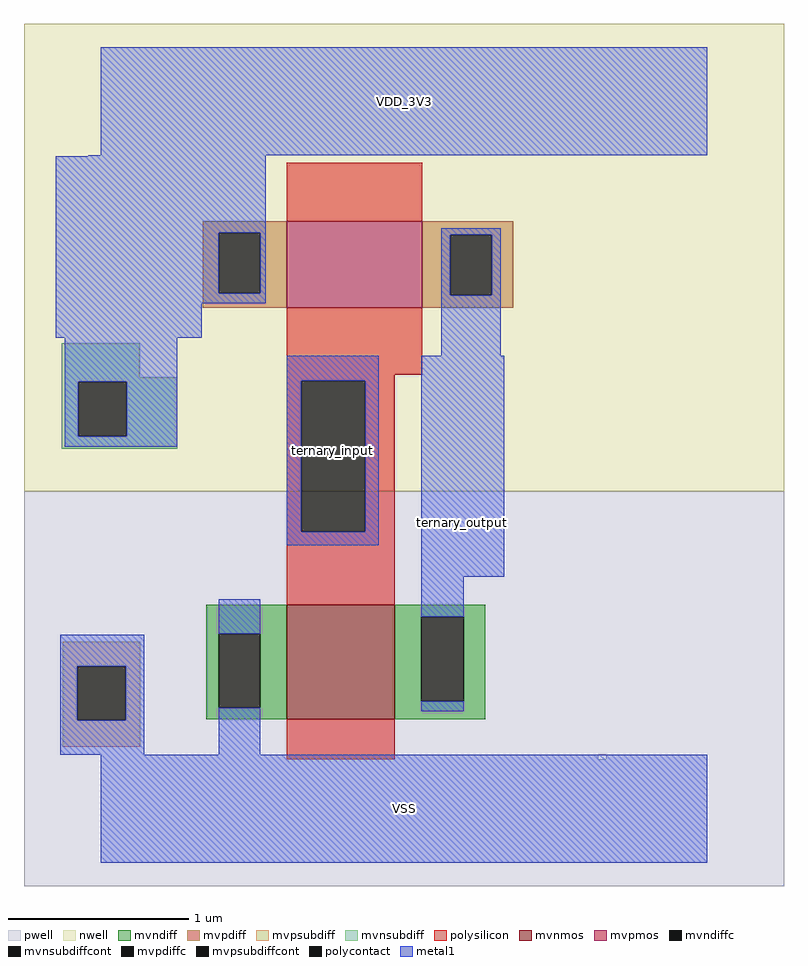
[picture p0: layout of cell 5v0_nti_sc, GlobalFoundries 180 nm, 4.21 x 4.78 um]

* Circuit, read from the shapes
.subckt 5v0_nti_sc ternary_output VDD_3V3 ternary_input VSS
XM1 ternary_output ternary_input VSS VSS nfet_06v0 w=0.635u l=0.6u
XM2 ternary_output ternary_input VDD_3V3 VDD_3V3 pfet_06v0 w=0.48u l=0.75u
.ends

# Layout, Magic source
magic
tech gf180mcuD
magscale 1 10
<< nwell >>
rect -253 296 589 814
<< pwell >>
rect -253 4 589 296
rect -253 -1 383 4
rect 392 -1 589 4
rect -253 -142 589 -1
<< mvnmos >>
rect 38 43 158 170
<< mvpmos >>
rect 38 499 188 595
<< mvndiff >>
rect -51 138 38 170
rect -51 56 -37 138
rect 9 56 38 138
rect -51 43 38 56
rect 158 157 258 170
rect 158 63 187 157
rect 234 63 258 157
rect 158 43 258 63
<< mvpdiff >>
rect -55 582 38 595
rect -55 515 -37 582
rect 9 515 38 582
rect -55 499 38 515
rect 188 580 289 595
rect 188 513 219 580
rect 265 513 289 580
rect 188 499 289 513
<< mvndiffc >>
rect -37 56 9 138
rect 187 63 234 157
<< mvpdiffc >>
rect -37 515 9 582
rect 219 513 265 580
<< mvpsubdiff >>
rect -210 102 -124 129
rect -210 42 -194 102
rect -140 42 -124 102
rect -210 13 -124 42
<< mvnsubdiff >>
rect -211 422 -125 460
rect -211 417 -83 422
rect -211 357 -193 417
rect -139 357 -83 417
rect -211 343 -83 357
<< mvpsubdiffcont >>
rect -194 42 -140 102
<< mvnsubdiffcont >>
rect -193 357 -139 417
<< polysilicon >>
rect 38 595 188 660
rect 38 425 188 499
rect 38 418 158 425
rect 38 251 54 418
rect 125 251 158 418
rect 38 170 158 251
rect 38 -1 158 43
<< polycontact >>
rect 54 251 125 418
<< metal1 >>
rect -168 668 504 788
rect -182 667 15 668
rect -218 582 15 667
rect -218 515 -37 582
rect 9 515 15 582
rect -218 504 15 515
rect 209 580 275 587
rect 209 513 219 580
rect 265 513 275 580
rect -218 466 -56 504
rect -208 417 -83 466
rect 209 446 275 513
rect -208 357 -193 417
rect -139 357 -83 417
rect -208 345 -83 357
rect 38 418 140 446
rect 38 251 54 418
rect 125 251 140 418
rect 38 236 140 251
rect 187 201 279 446
rect -37 138 9 176
rect -213 102 -120 137
rect -213 42 -194 102
rect -140 42 -120 102
rect -213 4 -120 42
rect -37 4 9 56
rect 187 157 234 201
rect 187 52 234 63
rect -168 -116 504 4
<< labels >>
rlabel metal1 187 201 279 321 1 ternary_output
port 11 n signal bidirectional
rlabel metal1 38 236 140 446 1 ternary_input
port 15 n signal bidirectional
rlabel metal1 -168 668 504 788 1 VDD_3V3
port 14 n power bidirectional
rlabel metal1 -168 -116 504 4 1 VSS
port 16 n ground bidirectional
<< end >>
